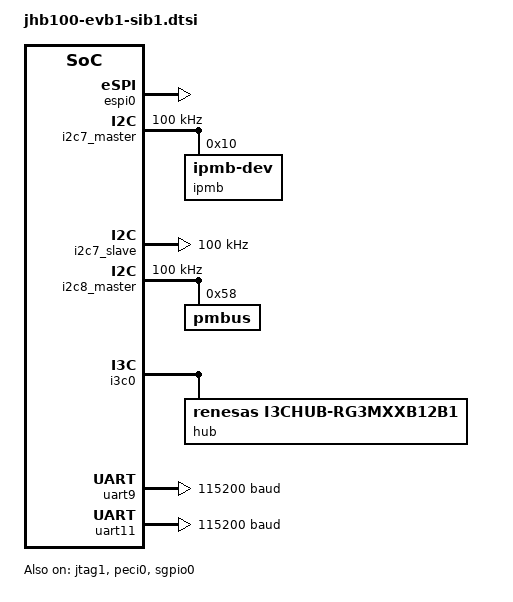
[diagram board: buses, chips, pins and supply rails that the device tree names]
// SPDX-License-Identifier: GPL-2.0 OR MIT
/*
 * Copyright (c) 2025 StarFive Technology Co., Ltd.
 */

&dma_i3c {
	status = "disabled";
};

&espi0 {
	status = "okay";
};

&i2c1_master {
	clock-frequency = <100000>;
	status = "disabled";
};

&i2c2_master {
	clock-frequency = <100000>;
	status = "disabled";
};

&i2c3_master {
	clock-frequency = <100000>;
	status = "disabled";
};

&i2c4_master {
	clock-frequency = <100000>;
	status = "disabled";
};

&i2c6_master {
	clock-frequency = <100000>;
	status = "disabled";
};

&i2c7_master {
	clock-frequency = <100000>;
	status = "okay";

	ipmb@10 {
		compatible = "ipmb-dev";
		reg = <0x10>;
		i2c-protocol;
		slave-dev = <&i2c7_slave>;
	};
};

&i2c7_slave {
	clock-frequency = <100000>;
	status = "okay";
};

&i2c8_master {
	clock-frequency = <100000>;
	status = "okay";

	pmbus@58 {
		compatible = "pmbus";
		reg = <0x58>;
	};
};

&i2c9_master {
	clock-frequency = <100000>;
	status = "disabled";
};

&i2c10_master {
	clock-frequency = <100000>;
	status = "disabled";
};

&i2c11_master {
	clock-frequency = <100000>;
	status = "disabled";
};

&i3c0 {
	i2c-scl-hz = <400000>;
	i3c-scl-hz = <12500000>;
	mode = "master";
	i3c-od-scl-high-ns = <1000>;
	i3c-od-scl-low-ns = <1500>;
	i3c-pp-scl-high-ns = <60>;
	i3c-pp-scl-low-ns = <100>;
	master-sda-tx-hold = <3>;
	master-sda-pp-od-switch-dly = <1>;
	master-sda-od-pp-switch-dly = <1>;
	master-stop-hold-cnt = <0xf>;
	is-mng;
	status = "okay";
	#address-cells = <3>;
	#size-cells = <0>;

	hub@0,4cd00000000 {
		compatible = "renesas,i3chub-rg3mxxb12b1";
		reg = <0x0 0x4cd 0x0>;
		cp0-ldo-en = "disabled";
		cp1-ldo-en = "disabled";
		cp0-ldo-volt = "1.0V";
		cp1-ldo-volt = "1.0V";
		tp0145-ldo-en = "disabled";
		tp2367-ldo-en = "disabled";
		tp0145-ldo-volt = "1.0V";
		tp2367-ldo-volt = "1.0V";
		tp0145-pullup = "2k";
		tp2367-pullup = "2k";
		tp0145-io-strength = "50Ohms";
		tp2367-io-strength = "50Ohms";

		target-port@0 {
			mode = "i3c";
			pullup = "enabled";
		};
		target-port@1 {
			mode = "disabled";
			pullup = "disabled";
		};
		target-port@2 {
			mode = "disabled";
			pullup = "disabled";
		};
		target-port@3 {
			mode = "disabled";
			pullup = "disabled";
		};
		target-port@4 {
			mode = "disabled";
			pullup = "disabled";
		};
		target-port@5 {
			mode = "disabled";
			pullup = "disabled";
		};
		target-port@6 {
			mode = "disabled";
			pullup = "disabled";
		};
		target-port@7 {
			mode = "disabled";
			pullup = "disabled";
		};
	};
};

&i3c1 {
	i2c-scl-hz = <400000>;
	i3c-scl-hz = <12500000>;
	mode = "master";
	hotjoin;
	status = "disabled";
};

&i3c2 {
	i2c-scl-hz = <400000>;
	i3c-scl-hz = <12500000>;
	mode = "master";
	hotjoin;
	status = "disabled";
};

&i3c12 {
	i2c-scl-hz = <400000>;
	i3c-scl-hz = <1000000>;
	mode = "master";
	hotjoin;
	status = "disabled";
};

&i3c13 {
	i2c-scl-hz = <400000>;
	i3c-scl-hz = <1000000>;
	mode = "master";
	hotjoin;
	status = "disabled";
};

&jtag1 {
	status = "okay";
};

&peci0 {
	status = "okay";
};

&peci1 {
	status = "disabled";
};

&pinctrl_adc0 {
	smbus8_alt_a_pins: smbus8_alt_a-grp {
		smbus8_alt_a-pins {
			input-enable;
		};
	};
};

&sgpio0 {
	status = "okay";

	/* SGPIO lines: Each IO number in pairs (input, output) */
	gpio-line-names =
	/* 0-1 */	"CPU1_PRESENCE", "P80_DOUT0", "CPU1_THERMTRIP", "P80_DOUT1",
	/* 2-3 */	"CPU1_VRHOT", "P80_DOUT2", "H_CPU0_MON_FAIL_LVC1_N", "P80_DOUT3",
	/* 4-5 */	"CPU1_MEM_VRHOT", "P80_DOUT4", "CPU1_MEM_THERM_EVENT", "P80_DOUT5",
	/* 6-7 */	"FM_CPU0_PROC_ID0", "P80_DOUT6", "FM_CPU0_PROC_ID1", "P80_DOUT7",
	/* 8-9 */	"CPU1_MISMATCH", "LED_CPU1_CH1_DIMM1_FAULT", "", "LED_CPU1_CH1_DIMM2_FAULT",
	/* 10-11 */	"CPU2_PRESENCE", "LED_CPU1_CH2_DIMM1_FAULT", "CPU2_THERMTRIP", "LED_CPU1_CH2_DIMM2_FAULT",
	/* 12-13 */	"CPU2_VRHOT", "LED_CPU1_CH3_DIMM1_FAULT", "H_CPU1_MON_FAIL_LVC1_N", "LED_CPU1_CH3_DIMM2_FAULT",
	/* 14-15 */	"CPU2_MEM_VRHOT", "LED_CPU1_CH4_DIMM1_FAULT", "CPU2_MEM_THERM_EVENT", "LED_CPU1_CH4_DIMM2_FAULT",
	/* 16-17 */	"FM_CPU1_PROC_ID0", "LED_CPU1_CH5_DIMM1_FAULT", "FM_CPU1_PROC_ID1", "LED_CPU1_CH5_DIMM2_FAULT",
	/* 18-19 */	"CPU2_MISMATCH", "LED_CPU1_CH6_DIMM1_FAULT", "", "LED_CPU1_CH6_DIMM2_FAULT",
	/* 20-21 */	"", "LED_FAN1_FAULT", "", "LED_FAN2_FAULT",
	/* 22-23 */	"", "LED_FAN3_FAULT", "", "LED_FAN4_FAULT",
	/* 24-25 */	"", "LED_FAN5_FAULT", "", "LED_FAN6_FAULT",
	/* 26-27 */	"", "LED_FAN7_FAULT", "", "LED_FAN8_FAULT",
	/* 28-29 */	"", "LED_CPU2_CH1_DIMM1_FAULT", "", "LED_CPU2_CH1_DIMM2_FAULT",
	/* 30-31 */	"", "LED_CPU2_CH2_DIMM1_FAULT", "", "LED_CPU2_CH2_DIMM2_FAULT",
	/* 32-33 */	"", "LED_CPU2_CH3_DIMM1_FAULT", "", "LED_CPU2_CH3_DIMM2_FAULT",
	/* 34-35 */	"", "LED_CPU2_CH4_DIMM1_FAULT", "", "LED_CPU2_CH4_DIMM2_FAULT",
	/* 36-37 */	"", "LED_CPU2_CH5_DIMM1_FAULT", "", "LED_CPU2_CH5_DIMM2_FAULT",
	/* 38-39 */	"", "LED_CPU2_CH6_DIMM1_FAULT", "CPU1_CPLD_CRC_ERROR", "LED_CPU2_CH6_DIMM2_FAULT",
	/* 40-41 */	"CPU2_CPLD_CRC_ERROR", "", "CPU1_CATERR_IERR", "",
	/* 42-43 */	"CPU1_CATERR_MCERR", "", "CPU2_CATERR_IERR", "",
	/* 44-45 */	"CPU2_CATERR_MCERR", "", "", "",
	/* 46-47 */	"", "", "", "",
	/* 48-49 */	"MAIN_PLD_MINOR_REV_BIT0", "", "MAIN_PLD_MINOR_REV_BIT1", "",
	/* 50-51 */	"MAIN_PLD_MINOR_REV_BIT2", "", "MAIN_PLD_MINOR_REV_BIT3", "",
	/* 52-53 */	"MAIN_PLD_MAJOR_REV_BIT0", "", "MAIN_PLD_MAJOR_REV_BIT1", "",
	/* 54-55 */	"MAIN_PLD_MAJOR_REV_BIT2", "", "MAIN_PLD_MAJOR_REV_BIT3", "",
	/* 56-57 */	"", "", "WMEMX_PWR_FLT", "",
	/* 58-59 */	"WCPUX_MEM_PWR_FLT", "", "PWRGD_P3V3_FF", "",
	/* 60-61 */	"WPSU_PWR_FLT", "", "", "",
	/* 62-63 */	"", "", "WPCH_PWR_FLT", "",
	/* 64-65 */	"FM_CPU0_PKGID0", "LED_CPU1_CH7_DIMM1_FAULT", "FM_CPU0_PKGID1", "LED_CPU1_CH7_DIMM2_FAULT",
	/* 66-67 */	"FM_CPU0_PKGID2", "LED_CPU1_CH8_DIMM1_FAULT", "H_CPU0_MEMTRIP_LVC1_N", "LED_CPU1_CH8_DIMM2_FAULT",
	/* 68-69 */	"FM_CPU1_PKGID0", "LED_CPU2_CH7_DIMM1_FAULT", "FM_CPU1_PKGID1", "LED_CPU2_CH7_DIMM2_FAULT",
	/* 70-71 */	"FM_CPU1_PKGID2", "LED_CPU2_CH8_DIMM1_FAULT", "H_CPU1_MEMTRIP_LVC1_N", "LED_CPU2_CH8_DIMM2_FAULT",
	/* 72-73 */	"", "", "", "",
	/* 74-75 */	"", "", "", "",
	/* 76-77 */	"", "", "", "",
	/* 78-79 */	"", "", "", "",
	/* 80-81 */	"FM_BOARD_REV_ID0", "LED_CPU0_CH9_DIMM1_FAULT", "FM_BOARD_REV_ID1", "LED_CPU0_CH9_DIMM2_FAULT",
	/* 82-83 */	"FM_BOARD_REV_ID2", "LED_CPU0_CH10_DIMM1_FAULT", "FM_BOARD_SKU_ID0", "LED_CPU0_CH10_DIMM2_FAULT",
	/* 84-85 */	"FM_BOARD_SKU_ID1", "LED_CPU0_CH11_DIMM1_FAULT", "FM_BOARD_SKU_ID2", "LED_CPU0_CH11_DIMM2_FAULT",
	/* 86-87 */	"FM_BOARD_SKU_ID3", "LED_CPU0_CH12_DIMM1_FAULT", "FM_BOARD_SKU_ID4", "LED_CPU0_CH12_DIMM2_FAULT",
	/* 88-89 */	"FM_BOARD_SKU_ID5", "LED_CPU1_CH9_DIMM1_FAULT", "FM_BMC_VAL_EN", "LED_CPU1_CH9_DIMM2_FAULT",
	/* 90-91 */	"FM_SERIAL_BOOT", "LED_CPU1_CH10_DIMM1_FAULT", "", "LED_CPU1_CH10_DIMM2_FAULT",
	/* 92-93 */	"S0_PWROK", "LED_CPU1_CH11_DIMM1_FAULT", "", "LED_CPU1_CH11_DIMM2_FAULT",
	/* 94-95 */	"", "LED_CPU1_CH12_DIMM1_FAULT", "", "LED_CPU1_CH12_DIMM1_FAULT",
	/* 96-97 */	"", "FM_SURPRISE_RESET_N", "", "FM_CPU1_INTR_CLK_CONFDONE_N",
	/* 98-99 */	"", "FM_GLOBAL_RESET_N", "FM_1200VA_OC", "BMC_BOOT_DONE",
	/* 100-101 */	"", "IRQ_BMC_CPU_NMI_P0", "", "IRQ_BMC_CPU_NMI_P1",
	/* 102-103 */	"", "", "", "",
	/* 104-105 */	"", "", "", "",
	/* 106-107 */	"", "", "", "",
	/* 108-109 */	"", "", "", "",
	/* 110-111 */	"", "", "", "",
	/* 112-113 */	"R1S_PRESENCE", "", "", "",
	/* 114-115 */	"", "", "", "",
	/* 116-117 */	"", "", "", "",
	/* 118-119 */	"", "", "", "",
	/* 120-121 */	"", "", "", "",
	/* 122-123 */	"", "", "", "",
	/* 124-125 */	"", "", "", "",
	/* 126-127 */	"", "", "", "";
};

&uart9 {
	status = "okay";
	current-speed = <115200>;
	pinctrl-names = "default";
	pinctrl-0 = <&uart9_pins>;
};

&uart11 {
	status = "okay";
	current-speed = <115200>;
	pinctrl-names = "default";
	pinctrl-0 = <&uart11_pins>;
};
